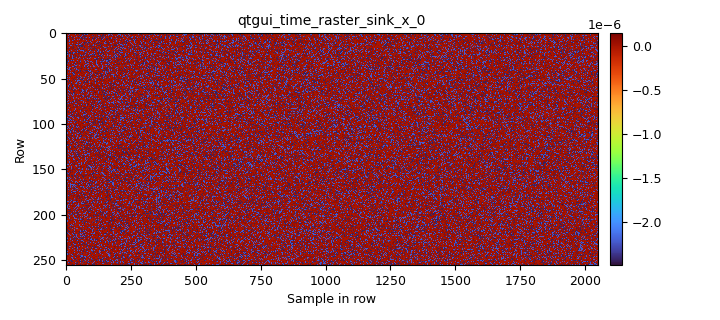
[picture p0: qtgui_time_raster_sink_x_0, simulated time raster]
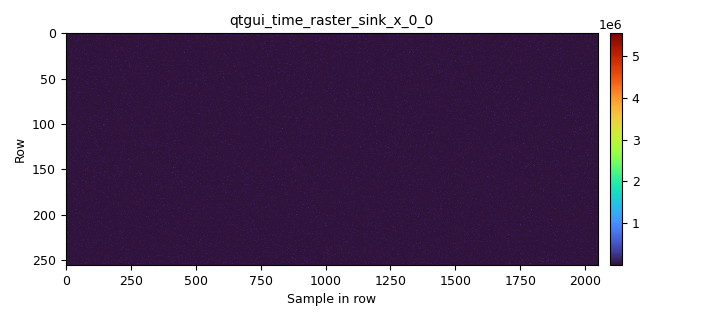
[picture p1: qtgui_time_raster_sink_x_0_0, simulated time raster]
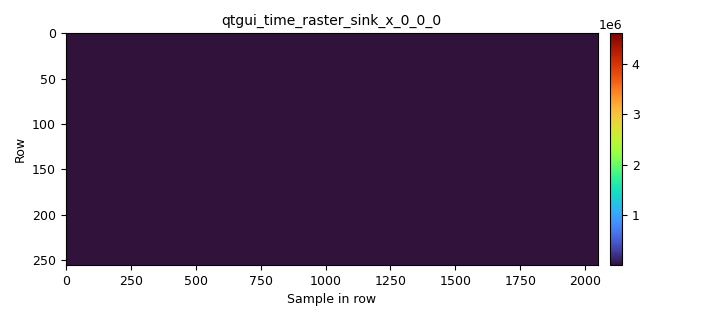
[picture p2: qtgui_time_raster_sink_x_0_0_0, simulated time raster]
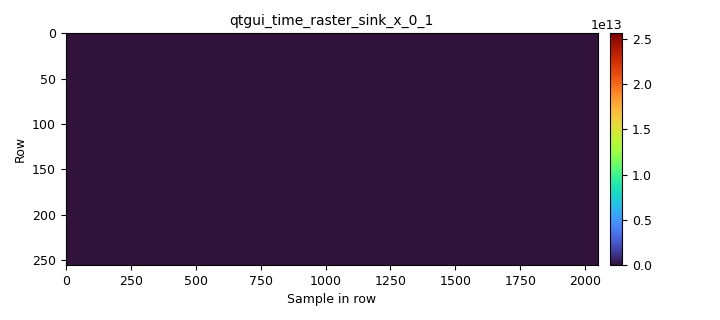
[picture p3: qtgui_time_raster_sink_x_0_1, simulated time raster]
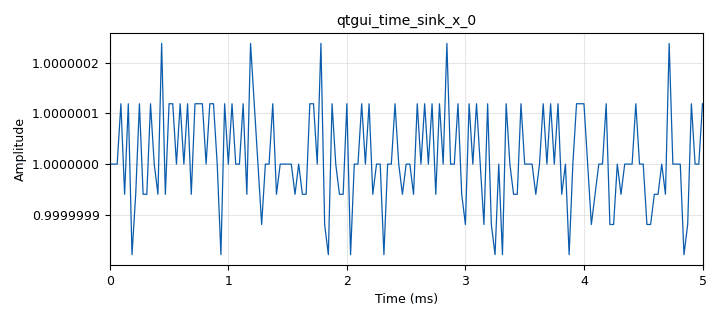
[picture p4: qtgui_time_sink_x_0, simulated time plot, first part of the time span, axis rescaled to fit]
options:
  parameters:
    author: nana_van
    generate_options: qt_gui
    id: step_b_3
    output_language: python
    title: Not titled yet
  states: {}

blocks:
- name: bin_freq
  id: variable_qtgui_range
  parameters:
    start: '-samp_rate/2'
    step: samp_rate/point_size
    stop: samp_rate/2
    value: '0'
    widget: eng_slider
  states: {}
- name: phase_delay
  id: variable_qtgui_range
  parameters:
    gui_hint: 0,0,1,8
    start: '-np.pi'
    step: np.pi/50
    stop: np.pi
    value: '0'
  states: {}
- name: point_size
  id: variable
  parameters:
    value: '2048'
  states: {}
- name: samp_rate
  id: variable
  parameters:
    value: '32000'
  states: {}
- name: signal_switch
  id: variable_qtgui_toggle_switch
  parameters:
    gui_hint: 0,9,1,1
    initPressed: 'False'
    label: Decay on
    pressed: '1'
    released: '0'
    type: real
    value: '0'
  states: {}
- name: analog_noise_source_x_0
  id: analog_noise_source_x
  parameters:
    amp: '1'
    noise_type: analog.GR_GAUSSIAN
    seed: '0'
    type: complex
  states: {}
- name: analog_noise_source_x_0_0
  id: analog_noise_source_x
  parameters:
    amp: '3'
    noise_type: analog.GR_GAUSSIAN
    seed: '0'
    type: complex
  states: {}
- name: analog_sig_source_x_0
  id: analog_sig_source_x
  parameters:
    amp: '1'
    freq: '1000'
    offset: '0'
    phase: '0'
    samp_rate: samp_rate
    type: complex
    waveform: analog.GR_COS_WAVE
  states: {}
- name: analog_sig_source_x_0_0
  id: analog_sig_source_x
  parameters:
    amp: '1'
    freq: '2000'
    offset: '0'
    phase: '0'
    samp_rate: samp_rate
    type: complex
    waveform: analog.GR_COS_WAVE
  states: {}
- name: bin_select
  id: epy_module
  parameters:
    source_code: |
      # this module will be imported in the into your flowgraph
      import numpy as np

      def select_binNum(samp_rate, point_size, freq):
          freq_range = np.linspace(-samp_rate/2, samp_rate/2, num=point_size)
          bin_num = np.searchsorted(freq_range, freq, side='left')
          if bin_num >= len(freq_range):
              bin_num -= 1
          return bin_num
  states: {}
- name: blocks_add_xx_0
  id: blocks_add_xx
  parameters:
    type: complex
  states: {}
- name: blocks_add_xx_1
  id: blocks_add_xx
  parameters:
    type: complex
  states: {}
- name: blocks_add_xx_1_0
  id: blocks_add_xx
  parameters:
    type: complex
  states: {}
- name: blocks_complex_to_mag_squared_0
  id: blocks_complex_to_mag_squared
  parameters: {}
  states: {}
- name: blocks_complex_to_mag_squared_0_0
  id: blocks_complex_to_mag_squared
  parameters: {}
  states: {}
- name: blocks_complex_to_mag_squared_0_0_0
  id: blocks_complex_to_mag_squared
  parameters: {}
  states: {}
- name: blocks_divide_xx_0
  id: blocks_divide_xx
  parameters:
    num_inputs: '3'
    type: float
  states: {}
- name: blocks_multiply_conjugate_cc_0
  id: blocks_multiply_conjugate_cc
  parameters: {}
  states: {}
- name: blocks_multiply_const_vxx_0
  id: blocks_multiply_const_vxx
  parameters:
    const: int(not bool(signal_switch))
    type: complex
  states: {}
- name: blocks_multiply_const_vxx_0_0
  id: blocks_multiply_const_vxx
  parameters:
    const: signal_switch
    type: complex
  states: {}
- name: blocks_nlog10_ff_0
  id: blocks_nlog10_ff
  parameters:
    k: '0'
  states: {}
- name: blocks_phase_shift_0
  id: blocks_phase_shift
  parameters:
    is_radians: 'True'
    shift: phase_delay
  states: {}
- name: blocks_stream_to_vector_0_0
  id: blocks_stream_to_vector
  parameters:
    num_items: point_size
    type: complex
  states: {}
- name: blocks_stream_to_vector_0_1
  id: blocks_stream_to_vector
  parameters:
    num_items: point_size
    type: complex
  states: {}
- name: blocks_throttle2_0
  id: blocks_throttle2
  parameters:
    samples_per_second: samp_rate
    type: complex
  states: {}
- name: blocks_vector_to_stream_0_0
  id: blocks_vector_to_stream
  parameters:
    num_items: point_size
    type: complex
  states: {}
- name: blocks_vector_to_stream_0_0_0
  id: blocks_vector_to_stream
  parameters:
    num_items: point_size
    type: complex
  states: {}
- name: fft_vxx_0_0
  id: fft_vxx
  parameters:
    fft_size: point_size
    forward: 'True'
    shift: 'True'
    type: complex
    window: window.rectangular(point_size)
  states: {}
- name: fft_vxx_0_1
  id: fft_vxx
  parameters:
    fft_size: point_size
    forward: 'True'
    shift: 'True'
    type: complex
    window: window.rectangular(point_size)
  states: {}
- name: import_0
  id: import
  parameters:
    imports: import numpy as np
  states: {}
- name: qtgui_time_raster_sink_x_0
  id: qtgui_time_raster_sink_x
  parameters:
    gui_hint: 'tabs@1: 0,0'
    ncols: point_size
    nrows: '256'
    samp_rate: samp_rate
    type: float
    x_end_value: samp_rate/2e3
    x_label: '"Frequency (kHz)"'
    x_start_value: '-samp_rate/2e3'
    y_end_value: '0'
    y_label: '"Time (s)"'
    y_start_value: 256*point_size/samp_rate
    zmax: '2'
    zmin: '-10'
  states: {}
- name: qtgui_time_raster_sink_x_0_0
  id: qtgui_time_raster_sink_x
  parameters:
    gui_hint: 'tabs@0: 0,0'
    ncols: point_size
    nrows: '256'
    samp_rate: samp_rate
    type: float
    x_end_value: samp_rate/2e3
    x_label: '"Frequency (kHz)"'
    x_start_value: '-samp_rate/2e3'
    y_end_value: '0'
    y_label: '"Time (s)"'
    y_start_value: 256*point_size/samp_rate
    zmax: '100000'
    zmin: '0'
  states: {}
- name: qtgui_time_raster_sink_x_0_0_0
  id: qtgui_time_raster_sink_x
  parameters:
    gui_hint: 'tabs@0: 1,0'
    ncols: point_size
    nrows: '256'
    samp_rate: samp_rate
    type: float
    x_end_value: samp_rate/2e3
    x_label: '"Frequency (kHz)"'
    x_start_value: '-samp_rate/2e3'
    y_end_value: '0'
    y_label: '"Time (s)"'
    y_start_value: 256*point_size/samp_rate
    zmax: '100000'
    zmin: '0'
  states: {}
- name: qtgui_time_raster_sink_x_0_1
  id: qtgui_time_raster_sink_x
  parameters:
    gui_hint: 'tabs@1: 1,0'
    ncols: point_size
    nrows: '256'
    samp_rate: samp_rate
    type: float
    x_end_value: samp_rate/2e3
    x_label: '"Frequency (kHz)"'
    x_start_value: '-samp_rate/2e3'
    y_end_value: '0'
    y_label: '"Time (s)"'
    y_start_value: 256*point_size/samp_rate
    zmax: '1000000000'
    zmin: '0'
  states: {}
- name: qtgui_time_sink_x_0
  id: qtgui_time_sink_x
  parameters:
    size: '1024'
    srate: samp_rate
    type: float
  states: {}
- name: tabs
  id: qtgui_tab_widget
  parameters:
    gui_hint: 1,0,10,10
    label0: X/Y
    label1: XY
    num_tabs: '2'
  states: {}

connections:
- [analog_noise_source_x_0, '0', blocks_add_xx_1, '1']
- [analog_noise_source_x_0_0, '0', blocks_add_xx_1_0, '0']
- [analog_sig_source_x_0, '0', blocks_multiply_const_vxx_0, '0']
- [analog_sig_source_x_0_0, '0', blocks_multiply_const_vxx_0_0, '0']
- [blocks_add_xx_0, '0', blocks_throttle2_0, '0']
- [blocks_add_xx_1, '0', blocks_stream_to_vector_0_0, '0']
- [blocks_add_xx_1_0, '0', blocks_stream_to_vector_0_1, '0']
- [blocks_complex_to_mag_squared_0, '0', blocks_divide_xx_0, '0']
- [blocks_complex_to_mag_squared_0, '0', qtgui_time_raster_sink_x_0_1, '0']
- [blocks_complex_to_mag_squared_0_0, '0', blocks_divide_xx_0, '2']
- [blocks_complex_to_mag_squared_0_0, '0', qtgui_time_raster_sink_x_0_0_0, '0']
- [blocks_complex_to_mag_squared_0_0_0, '0', blocks_divide_xx_0, '1']
- [blocks_complex_to_mag_squared_0_0_0, '0', qtgui_time_raster_sink_x_0_0, '0']
- [blocks_divide_xx_0, '0', blocks_nlog10_ff_0, '0']
- [blocks_divide_xx_0, '0', qtgui_time_sink_x_0, '0']
- [blocks_multiply_conjugate_cc_0, '0', blocks_complex_to_mag_squared_0, '0']
- [blocks_multiply_const_vxx_0, '0', blocks_add_xx_0, '0']
- [blocks_multiply_const_vxx_0_0, '0', blocks_add_xx_0, '1']
- [blocks_nlog10_ff_0, '0', qtgui_time_raster_sink_x_0, '0']
- [blocks_phase_shift_0, '0', blocks_add_xx_1, '0']
- [blocks_stream_to_vector_0_0, '0', fft_vxx_0_1, '0']
- [blocks_stream_to_vector_0_1, '0', fft_vxx_0_0, '0']
- [blocks_throttle2_0, '0', blocks_add_xx_1_0, '1']
- [blocks_throttle2_0, '0', blocks_phase_shift_0, '0']
- [blocks_vector_to_stream_0_0, '0', blocks_complex_to_mag_squared_0_0_0, '0']
- [blocks_vector_to_stream_0_0, '0', blocks_multiply_conjugate_cc_0, '0']
- [blocks_vector_to_stream_0_0_0, '0', blocks_complex_to_mag_squared_0_0, '0']
- [blocks_vector_to_stream_0_0_0, '0', blocks_multiply_conjugate_cc_0, '1']
- [fft_vxx_0_0, '0', blocks_vector_to_stream_0_0, '0']
- [fft_vxx_0_1, '0', blocks_vector_to_stream_0_0_0, '0']

metadata:
  file_format: 1
  grc_version: 3.10.9.2
